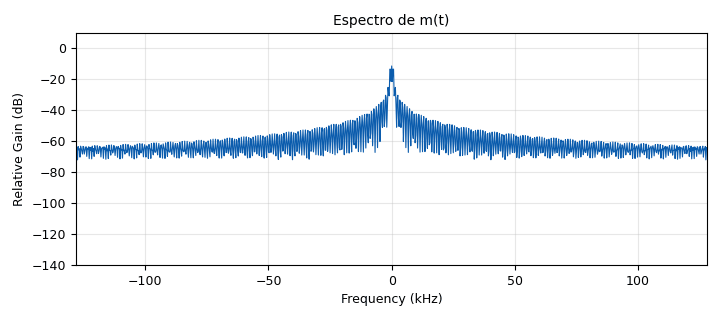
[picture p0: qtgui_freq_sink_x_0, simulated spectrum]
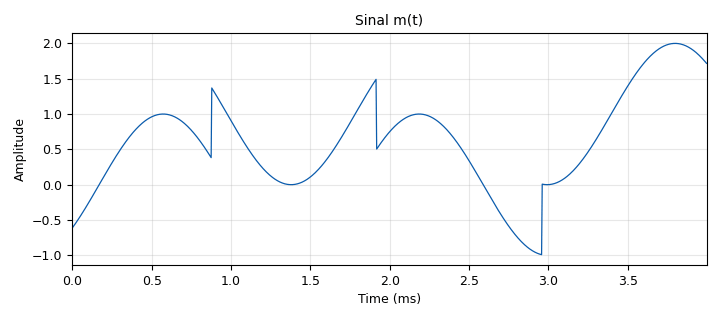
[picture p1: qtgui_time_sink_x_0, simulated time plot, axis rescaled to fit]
<?xml version='1.0' encoding='utf-8'?>
<?grc format='1' created='3.7.11'?>
<flow_graph>
<block>
<key>options</key>
<param><key>id</key><value>am_tx</value></param>
<param><key>category</key><value>Custom</value></param>
<param><key>generate_options</key><value>qt_gui</value></param>
<param><key>title</key><value>Experimento Transmissão AM</value></param>
</block>
<block>
<key>variable_qtgui_range</key>
<param><key>id</key><value>fc</value></param>
<param><key>value</key><value>32000</value></param>
<param><key>orient</key><value>Qt.Horizontal</value></param>
<param><key>start</key><value>16000</value></param>
<param><key>step</key><value>1</value></param>
<param><key>stop</key><value>100000</value></param>
</block>
<block>
<key>variable_qtgui_range</key>
<param><key>id</key><value>ka</value></param>
<param><key>value</key><value>1</value></param>
<param><key>orient</key><value>Qt.Horizontal</value></param>
<param><key>start</key><value>0</value></param>
<param><key>step</key><value>0.05</value></param>
<param><key>stop</key><value>2</value></param>
</block>
<block>
<key>variable</key>
<param><key>id</key><value>samp_rate</value></param>
<param><key>value</key><value>256000</value></param>
</block>
<block>
<key>analog_sig_source_x</key>
<param><key>id</key><value>analog_sig_source_x_0</value></param>
<param><key>amp</key><value>1</value></param>
<param><key>freq</key><value>480</value></param>
<param><key>offset</key><value>0</value></param>
<param><key>type</key><value>float</value></param>
<param><key>samp_rate</key><value>samp_rate</value></param>
<param><key>waveform</key><value>analog.GR_SQR_WAVE</value></param>
</block>
<block>
<key>analog_sig_source_x</key>
<param><key>id</key><value>analog_sig_source_x_1</value></param>
<param><key>amp</key><value>1</value></param>
<param><key>freq</key><value>620</value></param>
<param><key>offset</key><value>0</value></param>
<param><key>type</key><value>float</value></param>
<param><key>samp_rate</key><value>samp_rate</value></param>
<param><key>waveform</key><value>analog.GR_SIN_WAVE</value></param>
</block>
<block>
<key>blocks_add_const_vxx</key>
<param><key>id</key><value>blocks_add_const_vxx_0</value></param>
<param><key>const</key><value>1</value></param>
<param><key>type</key><value>float</value></param>
</block>
<block>
<key>blocks_add_xx</key>
<param><key>id</key><value>blocks_add_xx_0</value></param>
<param><key>type</key><value>float</value></param>
</block>
<block>
<key>blocks_float_to_complex</key>
<param><key>id</key><value>blocks_float_to_complex_0</value></param>
</block>
<block>
<key>blocks_multiply_const_vxx</key>
<param><key>id</key><value>blocks_multiply_const_vxx_0</value></param>
<param><key>const</key><value>ka</value></param>
<param><key>type</key><value>float</value></param>
</block>
<block>
<key>blocks_multiply_xx</key>
<param><key>id</key><value>blocks_multiply_xx_2</value></param>
<param><key>_enabled</key><value>0</value></param>
<param><key>type</key><value>float</value></param>
</block>
<block>
<key>blocks_throttle</key>
<param><key>id</key><value>blocks_throttle_1</value></param>
<param><key>samples_per_second</key><value>samp_rate</value></param>
<param><key>type</key><value>float</value></param>
</block>
<block>
<key>analog_sig_source_x</key>
<param><key>id</key><value>carry</value></param>
<param><key>amp</key><value>1</value></param>
<param><key>_enabled</key><value>0</value></param>
<param><key>freq</key><value>fc</value></param>
<param><key>offset</key><value>0</value></param>
<param><key>type</key><value>float</value></param>
<param><key>samp_rate</key><value>samp_rate</value></param>
<param><key>waveform</key><value>analog.GR_COS_WAVE</value></param>
</block>
<block>
<key>qtgui_freq_sink_x</key>
<param><key>id</key><value>qtgui_freq_sink_x_0</value></param>
<param><key>average</key><value>0.1</value></param>
<param><key>bw</key><value>samp_rate</value></param>
<param><key>fc</key><value>0</value></param>
<param><key>fftsize</key><value>1024</value></param>
<param><key>gui_hint</key><value>tab@0:[0,1,1,1]</value></param>
<param><key>grid</key><value>True</value></param>
<param><key>name</key><value>"Espectro de m(t)"</value></param>
<param><key>showports</key><value>True</value></param>
<param><key>type</key><value>float</value></param>
<param><key>wintype</key><value>firdes.WIN_HAMMING</value></param>
</block>
<block>
<key>qtgui_freq_sink_x</key>
<param><key>id</key><value>qtgui_freq_sink_x_1</value></param>
<param><key>average</key><value>0.1</value></param>
<param><key>bw</key><value>samp_rate</value></param>
<param><key>fc</key><value>0</value></param>
<param><key>_enabled</key><value>0</value></param>
<param><key>fftsize</key><value>1024</value></param>
<param><key>gui_hint</key><value>tab@1:[0,1,1,1]</value></param>
<param><key>grid</key><value>True</value></param>
<param><key>name</key><value>"Espectro do sinal modulado"</value></param>
<param><key>showports</key><value>True</value></param>
<param><key>type</key><value>float</value></param>
<param><key>wintype</key><value>firdes.WIN_HAMMING</value></param>
</block>
<block>
<key>qtgui_time_sink_x</key>
<param><key>id</key><value>qtgui_time_sink_x_0</value></param>
<param><key>gui_hint</key><value>tab@0:[0,0,1,1]</value></param>
<param><key>grid</key><value>True</value></param>
<param><key>color1</key><value>"blue"</value></param>
<param><key>label1</key><value></value></param>
<param><key>name</key><value>"Sinal m(t)"</value></param>
<param><key>size</key><value>1024</value></param>
<param><key>srate</key><value>samp_rate</value></param>
<param><key>type</key><value>float</value></param>
</block>
<block>
<key>qtgui_time_sink_x</key>
<param><key>id</key><value>qtgui_time_sink_x_1</value></param>
<param><key>_enabled</key><value>0</value></param>
<param><key>gui_hint</key><value>tab@1:[0,0,1,1]</value></param>
<param><key>grid</key><value>True</value></param>
<param><key>color1</key><value>"blue"</value></param>
<param><key>label1</key><value></value></param>
<param><key>color2</key><value>"green"</value></param>
<param><key>label2</key><value></value></param>
<param><key>name</key><value>"Sinal modulado"</value></param>
<param><key>nconnections</key><value>2</value></param>
<param><key>size</key><value>1024</value></param>
<param><key>srate</key><value>samp_rate</value></param>
<param><key>type</key><value>float</value></param>
</block>
<block>
<key>qtgui_tab_widget</key>
<param><key>id</key><value>tab</value></param>
<param><key>label0</key><value>Tab 0</value></param>
<param><key>label1</key><value>Tab 1</value></param>
<param><key>num_tabs</key><value>2</value></param>
</block>
<block>
<key>uhd_usrp_sink</key>
<param><key>id</key><value>uhd_usrp_sink_0</value></param>
<param><key>ant0</key><value>TX/RX</value></param>
<param><key>center_freq0</key><value>174.3e6</value></param>
<param><key>norm_gain0</key><value>False</value></param>
<param><key>gain0</key><value>50</value></param>
<param><key>clock_rate</key><value>0.0</value></param>
<param><key>dev_args</key><value>""</value></param>
<param><key>type</key><value>fc32</value></param>
<param><key>samp_rate</key><value>samp_rate</value></param>
<param><key>hide_cmd_port</key><value>False</value></param>
<param><key>hide_lo_controls</key><value>True</value></param>
<param><key>sync</key><value></value></param>
<param><key>len_tag_name</key><value></value></param>
</block>
<connection><source_block_id>analog_sig_source_x_0</source_block_id><sink_block_id>blocks_add_xx_0</sink_block_id><source_key>0</source_key><sink_key>1</sink_key></connection>
<connection><source_block_id>analog_sig_source_x_1</source_block_id><sink_block_id>blocks_add_xx_0</sink_block_id><source_key>0</source_key><sink_key>0</sink_key></connection>
<connection><source_block_id>blocks_add_const_vxx_0</source_block_id><sink_block_id>blocks_float_to_complex_0</sink_block_id><source_key>0</source_key><sink_key>0</sink_key></connection>
<connection><source_block_id>blocks_add_const_vxx_0</source_block_id><sink_block_id>blocks_multiply_xx_2</sink_block_id><source_key>0</source_key><sink_key>0</sink_key></connection>
<connection><source_block_id>blocks_add_const_vxx_0</source_block_id><sink_block_id>qtgui_time_sink_x_1</sink_block_id><source_key>0</source_key><sink_key>0</sink_key></connection>
<connection><source_block_id>blocks_add_xx_0</source_block_id><sink_block_id>blocks_throttle_1</sink_block_id><source_key>0</source_key><sink_key>0</sink_key></connection>
<connection><source_block_id>blocks_float_to_complex_0</source_block_id><sink_block_id>uhd_usrp_sink_0</sink_block_id><source_key>0</source_key><sink_key>0</sink_key></connection>
<connection><source_block_id>blocks_multiply_const_vxx_0</source_block_id><sink_block_id>blocks_add_const_vxx_0</sink_block_id><source_key>0</source_key><sink_key>0</sink_key></connection>
<connection><source_block_id>blocks_multiply_xx_2</source_block_id><sink_block_id>blocks_float_to_complex_0</sink_block_id><source_key>0</source_key><sink_key>0</sink_key></connection>
<connection><source_block_id>blocks_multiply_xx_2</source_block_id><sink_block_id>qtgui_freq_sink_x_1</sink_block_id><source_key>0</source_key><sink_key>0</sink_key></connection>
<connection><source_block_id>blocks_multiply_xx_2</source_block_id><sink_block_id>qtgui_time_sink_x_1</sink_block_id><source_key>0</source_key><sink_key>1</sink_key></connection>
<connection><source_block_id>blocks_throttle_1</source_block_id><sink_block_id>blocks_multiply_const_vxx_0</sink_block_id><source_key>0</source_key><sink_key>0</sink_key></connection>
<connection><source_block_id>blocks_throttle_1</source_block_id><sink_block_id>qtgui_freq_sink_x_0</sink_block_id><source_key>0</source_key><sink_key>0</sink_key></connection>
<connection><source_block_id>blocks_throttle_1</source_block_id><sink_block_id>qtgui_time_sink_x_0</sink_block_id><source_key>0</source_key><sink_key>0</sink_key></connection>
<connection><source_block_id>carry</source_block_id><sink_block_id>blocks_multiply_xx_2</sink_block_id><source_key>0</source_key><sink_key>1</sink_key></connection>
</flow_graph>
